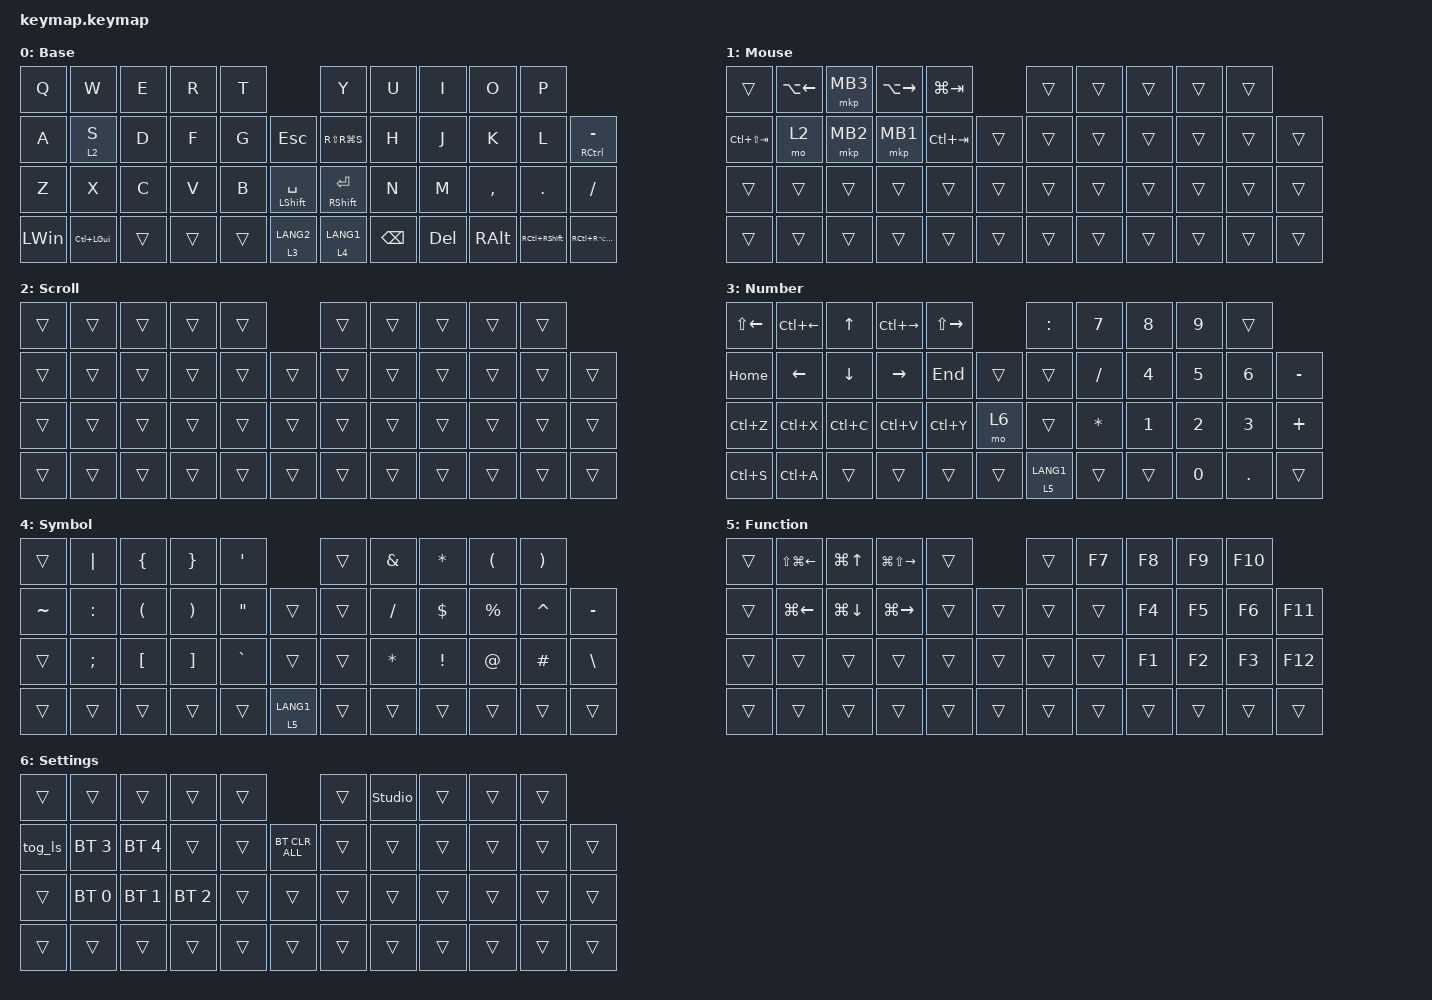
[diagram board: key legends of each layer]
#include <input/processors.dtsi>
#include <layout_shift.dtsi>
#include <behaviors.dtsi>
#include <dt-bindings/zmk/bt.h>
#include <dt-bindings/zmk/keys.h>
#include <dt-bindings/zmk/pointing.h>

// Layout Shift Overlay - Replaces &kp behavior with custom implementation
// Copied inline from layout_shift_kp_override.dtsi to avoid Keymap Editor reordering issues

/ {
    behaviors {
        // Keep the original key_press behavior for ZMK core components

        original_key_press: original_key_press {
            compatible = "zmk,behavior-key-press";
            #binding-cells = <1>;
            label = "KEY_PRESS";
        };

        // Override the existing &kp behavior to use our custom implementation

        kp: key_press {
            compatible = "zmk,behavior-layout-shift-key-press";
            #binding-cells = <1>;
            label = "LAYOUT_SHIFT_KEY_PRESS";
        };
    };

    combos {
        compatible = "zmk,combos";

        bt_clear {
            bindings = <&bt BT_CLR>;
            key-positions = <0 15 34>;
        };

        tab {
            bindings = <&kp TAB>;
            key-positions = <12 13>;
        };

        shift_tab {
            bindings = <&kp LS(TAB)>;
            key-positions = <12 11>;
        };

        ctl_f {
            bindings = <&kp LC(F)>;
            key-positions = <18 19>;
        };

        ctl_shift_f {
            bindings = <&kp LC(LS(F))>;
            key-positions = <6 7>;
        };

        ctl_z {
            bindings = <&kp LC(Z)>;
            key-positions = <30 31>;
        };

        ctl_y {
            bindings = <&kp LC(Y)>;
            key-positions = <31 32>;
        };

        win_tab {
            bindings = <&kp LG(TAB)>;
            key-positions = <1 2>;
        };
    };

    // Auto mouse layer configuration

    input_processors {
        auto_mouse_layer: auto_mouse_layer {
            compatible = "zmk,input-processor-temp-layer";
            #input-processor-cells = <2>;
            require-prior-idle-ms = <500>;  // Require 500ms idle before activation
            excluded-positions = <0 1 2 3 4 10 11 12 13 14>;   // Don't deactivate layer on combo keys
        };
    };

    keymap {
        compatible = "zmk,keymap";

        main_layer0 {
            display-name = "Base";
            bindings = <
  &kp Q         &kp W             &kp E   &kp R   &kp T                           &kp Y                  &kp U          &kp I    &kp O          &kp P
  &kp A         &lt 2 S           &kp D   &kp F   &kp G   &kp ESCAPE              &kp RS(RG(S))          &kp H          &kp J    &kp K          &kp L                &mt RCTRL MINUS
  &kp Z         &kp X             &kp C   &kp V   &kp B   &mt LEFT_SHIFT SPACE    &mt RIGHT_SHIFT ENTER  &kp N          &kp M    &kp COMMA      &kp PERIOD           &kp SLASH
  &kp LEFT_WIN  &kp LC(LEFT_GUI)  &trans  &trans  &trans  &lt 3 LANG2             &lt 4 LANG1            &kp BACKSPACE  &kp DEL  &kp RIGHT_ALT  &kp RC(RIGHT_SHIFT)  &kp RC(RA(RIGHT_SHIFT))
            >;
        };

        mouse {
            display-name = "Mouse";
            bindings = <
  &trans           &kp LA(LEFT_ARROW)  &mkp MB3  &kp LA(RIGHT_ARROW)  &kp LG(TAB)            &trans  &trans  &trans  &trans  &trans
  &kp LC(LS(TAB))  &mo 2               &mkp MB2  &mkp MB1             &kp LC(TAB)  &trans    &trans  &trans  &trans  &trans  &trans  &trans
  &trans           &trans              &trans    &trans               &trans       &trans    &trans  &trans  &trans  &trans  &trans  &trans
  &trans           &trans              &trans    &trans               &trans       &trans    &trans  &trans  &trans  &trans  &trans  &trans
            >;
        };

        scroll {
            display-name = "Scroll";
            bindings = <
  &trans  &trans  &trans  &trans  &trans            &trans  &trans  &trans  &trans  &trans
  &trans  &trans  &trans  &trans  &trans  &trans    &trans  &trans  &trans  &trans  &trans  &trans
  &trans  &trans  &trans  &trans  &trans  &trans    &trans  &trans  &trans  &trans  &trans  &trans
  &trans  &trans  &trans  &trans  &trans  &trans    &trans  &trans  &trans  &trans  &trans  &trans
            >;
        };

        num {
            display-name = "Number";
            bindings = <
  &kp LS(LEFT_ARROW)  &kp LC(LEFT_ARROW)  &kp UP_ARROW    &kp LC(RIGHT_ARROW)  &kp LS(RIGHT_ARROW)            &kp COLON    &kp NUMBER_7  &kp NUMBER_8  &kp NUMBER_9  &trans
  &kp HOME            &kp LEFT_ARROW      &kp DOWN_ARROW  &kp RIGHT_ARROW      &kp END              &trans    &trans       &kp SLASH     &kp NUMBER_4  &kp NUMBER_5  &kp NUMBER_6  &kp MINUS
  &kp LC(Z)           &kp LC(X)           &kp LC(C)       &kp LC(V)            &kp LC(Y)            &mo 6     &trans       &kp ASTERISK  &kp NUMBER_1  &kp NUMBER_2  &kp NUMBER_3  &kp PLUS
  &kp LC(S)           &kp LC(A)           &trans          &trans               &trans               &trans    &lt 5 LANG1  &trans        &trans        &kp NUMBER_0  &kp PERIOD    &trans
            >;
        };

        symbol {
            display-name = "Symbol";
            bindings = <
  &trans     &kp PIPE       &kp LEFT_BRACE        &kp RIGHT_BRACE        &kp SINGLE_QUOTE                  &trans  &kp AMPERSAND  &kp ASTERISK     &kp LEFT_PARENTHESIS  &kp RIGHT_PARENTHESIS
  &kp TILDE  &kp COLON      &kp LEFT_PARENTHESIS  &kp RIGHT_PARENTHESIS  &kp DOUBLE_QUOTES  &trans         &trans  &kp SLASH      &kp DOLLAR       &kp PERCENT           &kp CARET              &kp MINUS
  &trans     &kp SEMICOLON  &kp LEFT_BRACKET      &kp RIGHT_BRACKET      &kp GRAVE          &trans         &trans  &kp ASTERISK   &kp EXCLAMATION  &kp AT_SIGN           &kp HASH               &kp BACKSLASH
  &trans     &trans         &trans                &trans                 &trans             &lt 5 LANG1    &trans  &trans         &trans           &trans                &trans                 &trans
            >;
        };

        function {
            display-name = "Function";
            bindings = <
  &trans  &kp LS(LG(LEFT_ARROW))  &kp LG(UP_ARROW)    &kp LG(LS(RIGHT_ARROW))  &trans            &trans  &kp F7  &kp F8  &kp F9  &kp F10
  &trans  &kp LG(LEFT_ARROW)      &kp LG(DOWN_ARROW)  &kp LG(RIGHT_ARROW)      &trans  &trans    &trans  &trans  &kp F4  &kp F5  &kp F6   &kp F11
  &trans  &trans                  &trans              &trans                   &trans  &trans    &trans  &trans  &kp F1  &kp F2  &kp F3   &kp F12
  &trans  &trans                  &trans              &trans                   &trans  &trans    &trans  &trans  &trans  &trans  &trans   &trans
            >;
        };

        set {
            display-name = "Settings";
            bindings = <
  &trans   &trans        &trans        &trans        &trans                    &trans  &studio_unlock  &trans  &trans  &trans
  &tog_ls  &bt BT_SEL 3  &bt BT_SEL 4  &trans        &trans  &bt BT_CLR_ALL    &trans  &trans          &trans  &trans  &trans  &trans
  &trans   &bt BT_SEL 0  &bt BT_SEL 1  &bt BT_SEL 2  &trans  &trans            &trans  &trans          &trans  &trans  &trans  &trans
  &trans   &trans        &trans        &trans        &trans  &trans            &trans  &trans          &trans  &trans  &trans  &trans
            >;
        };
    };
};
